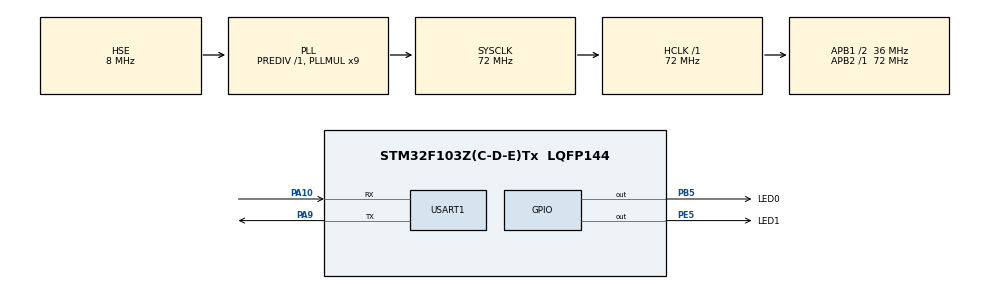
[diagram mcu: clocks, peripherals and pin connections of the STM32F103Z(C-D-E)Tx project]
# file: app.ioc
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Mcu.Family=STM32F1
Mcu.Name=STM32F103Z(C-D-E)Tx
Mcu.Package=LQFP144
NVIC.PriorityGroup=NVIC_PRIORITYGROUP_4
NVIC.USART1_IRQn=true\:0\:0\:false\:false\:true\:true\:true\:true
OSC_IN.Mode=HSE-External-Oscillator
OSC_IN.Signal=RCC_OSC_IN
OSC_OUT.Mode=HSE-External-Oscillator
OSC_OUT.Signal=RCC_OSC_OUT
PA10.Mode=Asynchronous
PA10.Signal=USART1_RX
PA13.Mode=Serial_Wire
PA13.Signal=SYS_JTMS-SWDIO
PA14.Mode=Serial_Wire
PA14.Signal=SYS_JTCK-SWCLK
PA9.Mode=Asynchronous
PA9.Signal=USART1_TX
PB5.GPIO_Label=LED0
PB5.PinState=GPIO_PIN_SET
PB5.Signal=GPIO_Output
PE5.GPIO_Label=LED1
PE5.GPIO_PuPd=GPIO_NOPULL
PE5.PinState=GPIO_PIN_SET
PE5.Signal=GPIO_Output
ProjectManager.HeapSize=0x200
ProjectManager.StackSize=0x400
ProjectManager.TargetToolchain=MDK-ARM V5.32
RCC.AHBFreq_Value=72000000
RCC.APB1CLKDivider=RCC_HCLK_DIV2
RCC.APB1Freq_Value=36000000
RCC.APB1TimFreq_Value=72000000
RCC.APB2Freq_Value=72000000
RCC.APB2TimFreq_Value=72000000
RCC.HCLKFreq_Value=72000000
RCC.PLLMUL=RCC_PLL_MUL9
RCC.PLLSourceVirtual=RCC_PLLSOURCE_HSE
RCC.SYSCLKFreq_VALUE=72000000
RCC.SYSCLKSource=RCC_SYSCLKSOURCE_PLLCLK
RCC.USBFreq_Value=72000000
USART1.VirtualMode=VM_ASYNC
board=custom

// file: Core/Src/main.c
/* USER CODE BEGIN Header */
/**
  ******************************************************************************
  * @file           : main.c
  * @brief          : Main program body
  ******************************************************************************
  * @attention
  *
  * Copyright (c) 2024 STMicroelectronics.
  * All rights reserved.
  *
  * This software is licensed under terms that can be found in the LICENSE file
  * in the root directory of this software component.
  * If no LICENSE file comes with this software, it is provided AS-IS.
  *
  ******************************************************************************
  */
/* USER CODE END Header */
#include "main.h"
#include "usart.h"
#include "gpio.h"

void SystemClock_Config(void);

int main(void)
{
  /* USER CODE BEGIN 1 */
  uint8_t len = 0;
  uint16_t times = 0;
  /* USER CODE END 1 */

  /* MCU Configuration--------------------------------------------------------*/

  /* Reset of all peripherals, Initializes the Flash interface and the Systick. */
  HAL_Init();

  /* Configure the system clock */
  SystemClock_Config();

  /* Initialize all configured peripherals */
  MX_GPIO_Init();
  MX_USART1_UART_Init();
  /* USER CODE BEGIN 2 */
	HAL_UART_Receive_IT(&huart1, g_rx_buffer, 1);
  /* USER CODE END 2 */

  /* Infinite loop */
  while (1)
  {

    /* USER CODE BEGIN 3 */
		if (g_usart_rx_sta & 0x8000)        /* 接收到了数据? */
		{
				len = g_usart_rx_sta & 0x3fff;  /* 得到此次接收到的数据长度 */
				printf("\r\n您发送的消息为:\r\n");

				HAL_UART_Transmit(&huart1,(uint8_t*)g_usart_rx_buf, len, 1000);    /* 发送接收到的数据 */
				while(__HAL_UART_GET_FLAG(&huart1, UART_FLAG_TC) != SET);          /* 等待发送结束 */
				printf("\r\n\r\n");             /* 插入换行 */
				g_usart_rx_sta = 0;
		}
		else
		{
				times++;

				if (times % 500 == 0)
				{
						printf("\r\n正点原子 STM32开发板 串口实验\r\n");
						printf("正点原子@ALIENTEK\r\n\r\n\r\n");
				}

				if (times % 500 == 0) printf("请输入数据,以回车键结束\r\n");

				if (times % 100  == 0) /* 闪烁LED,提示系统正在运行. */
				{
					HAL_GPIO_TogglePin(LED0_GPIO_Port, LED0_Pin);
					HAL_GPIO_TogglePin(LED1_GPIO_Port, LED1_Pin);
				}

				HAL_Delay(10);
		}
  }
  /* USER CODE END 3 */
}

void SystemClock_Config(void)
{
  RCC_OscInitTypeDef RCC_OscInitStruct = {0};
  RCC_ClkInitTypeDef RCC_ClkInitStruct = {0};

  /** Initializes the RCC Oscillators according to the specified parameters
  * in the RCC_OscInitTypeDef structure.
  */
  RCC_OscInitStruct.OscillatorType = RCC_OSCILLATORTYPE_HSE;
  RCC_OscInitStruct.HSEState = RCC_HSE_ON;
  RCC_OscInitStruct.HSEPredivValue = RCC_HSE_PREDIV_DIV1;
  RCC_OscInitStruct.HSIState = RCC_HSI_ON;
  RCC_OscInitStruct.PLL.PLLState = RCC_PLL_ON;
  RCC_OscInitStruct.PLL.PLLSource = RCC_PLLSOURCE_HSE;
  RCC_OscInitStruct.PLL.PLLMUL = RCC_PLL_MUL9;
  if (HAL_RCC_OscConfig(&RCC_OscInitStruct) != HAL_OK)
  {
    Error_Handler();
  }

  /** Initializes the CPU, AHB and APB buses clocks
  */
  RCC_ClkInitStruct.ClockType = RCC_CLOCKTYPE_HCLK|RCC_CLOCKTYPE_SYSCLK
                              |RCC_CLOCKTYPE_PCLK1|RCC_CLOCKTYPE_PCLK2;
  RCC_ClkInitStruct.SYSCLKSource = RCC_SYSCLKSOURCE_PLLCLK;
  RCC_ClkInitStruct.AHBCLKDivider = RCC_SYSCLK_DIV1;
  RCC_ClkInitStruct.APB1CLKDivider = RCC_HCLK_DIV2;
  RCC_ClkInitStruct.APB2CLKDivider = RCC_HCLK_DIV1;

  if (HAL_RCC_ClockConfig(&RCC_ClkInitStruct, FLASH_LATENCY_2) != HAL_OK)
  {
    Error_Handler();
  }
}

void Error_Handler(void)
{
  __disable_irq();
  while (1)
  {
  }
}
